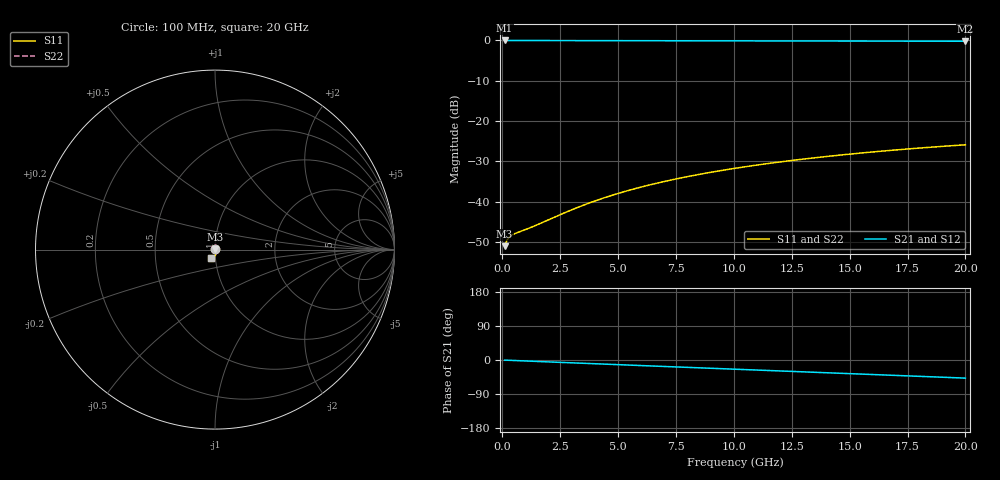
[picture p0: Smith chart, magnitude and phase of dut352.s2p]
! Touchstone file exported from HFSS 2026.1.0
!  File:  C:/ffzhzh/LocalFiles/Ansys_Project_Files/temp_train_BSMRDL_352_1783011427_51716.aedt
!  Generated:  12:58:59 AM Jul  3, 2026
!  Design:  BSMRDL
!  Project:  temp_train_BSMRDL_352_1783011427_51716
! Variables:
!  h_bsmrdl = 5.72um
!  h_ox = 20um
!  h_rdl = 5um
!  h_sub = 80um
!  h_tmrdl = 5um
!  h_tsv = 80um
!  h_via = 3um
!  l_bsmrdl = 866.71um
!  l_sub = 1266.71um
!  l_tmrdl = 200um
!  m_sub = 200um
!  pitch = 27.4um
!  r_tsv = 6um
!  s_tmrdl = 10um
!  w_bsmrdl = 22.62um
!  w_sub = 500um
!  w_tmrdl = 12um
!  x_tsv_center1 = 206um
!  x_tsv_center2 = 1095.33um
!  x_tsv_center3 = 1307.33um
!  x_tsv_center4 = 2196.66um
!  x_tsv_center5 = 2408.66um
!  x_tsv_center6 = 3297.99um
# GHz S MA R 50.000000
! Terminal data exported
! Port[1] = BSM_RDL1_1_T1
! Port[2] = BSM_RDL1_1_T2
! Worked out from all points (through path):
!   200 points, 100 MHz to 20 GHz, reference 50 ohm
!   highest |S21| = -0.02 dB at 100 MHz (marker M1); lowest = -0.2 dB at 20 GHz (marker M2)
!   group delay of S21, straight-line fit = 6.61 ps
!   lowest |S11| = -51.0 dB at 100 MHz (marker M3), VSWR 1.01, Z = 50.3 + j0.0619 ohm
!   |S11| at or under -10 dB: start of sweep to end of sweep
!   |S22| runs from -51.0 to -25.9 dB; largest |S21 - S12| = 2.3e-14
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0.1  0.00281 12.7  0.9973 -0.3  0.9973 -0.3  0.00281 12.7
! Gamma 0 0 0 0
! Port Impedance 50 0 50 0
0.2  0.003327 13.2  0.9968 -0.6  0.9968 -0.6  0.003329 13.3
0.3  0.003645 10.7  0.9964 -0.8  0.9964 -0.8  0.003649 10.7
0.4  0.003839 8.2  0.9962 -1.1  0.9962 -1.1  0.003844 8.3
0.5  0.003975 6.1  0.996 -1.3  0.996 -1.3  0.003982 6.2
1.3  0.004884 -4.5  0.9951 -3.3  0.9951 -3.3  0.004892 -4.5
2.7  0.007308 -21.4  0.9929 -6.8  0.9929 -6.8  0.007317 -21.4
3.5  0.009045 -30.7  0.9916 -8.7  0.9916 -8.7  0.009057 -30.7
4.3  0.01093 -39.1  0.9903 -10.6  0.9903 -10.6  0.01094 -39.0
5.1  0.01291 -46.5  0.9892 -12.6  0.9892 -12.6  0.01293 -46.4
5.9  0.01495 -53.0  0.9881 -14.5  0.9881 -14.5  0.01497 -52.9
6.8  0.01729 -59.4  0.987 -16.6  0.987 -16.6  0.01733 -59.3
7.6  0.0194 -64.5  0.9861 -18.5  0.9861 -18.5  0.01945 -64.4
8.4  0.02153 -69.1  0.9853 -20.4  0.9853 -20.4  0.02158 -69.0
9.2  0.02367 -73.4  0.9845 -22.3  0.9845 -22.3  0.02373 -73.2
10.1  0.02608 -77.8  0.9836 -24.4  0.9836 -24.4  0.02614 -77.6
11.7  0.03034 -84.9  0.9821 -28.2  0.9821 -28.2  0.03041 -84.6
13.4  0.03479 -91.6  0.9806 -32.3  0.9806 -32.3  0.03488 -91.3
15  0.03889 -97.5  0.9792 -36.0  0.9792 -36.0  0.03899 -97.2
16.7  0.0431 -103.3  0.9778 -40.0  0.9778 -40.0  0.04322 -102.9
18.3  0.04691 -108.5  0.9765 -43.8  0.9765 -43.8  0.04703 -108.1
20  0.05075 -113.8  0.9751 -47.8  0.9751 -47.8  0.05089 -113.4
